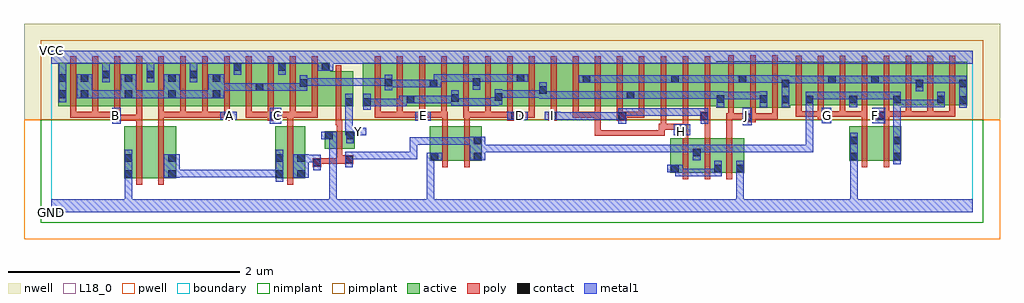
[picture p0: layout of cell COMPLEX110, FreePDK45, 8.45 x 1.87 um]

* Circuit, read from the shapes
.subckt COMPLEX110 A B C D E F G GND H I J VCC Y
M1 n1 B GND VSUBS nfet w=0.45u l=0.05u
M2 n2 A n1 VSUBS nfet w=0.45u l=0.05u
M3 n3 C n2 VSUBS nfet w=0.45u l=0.05u
M4 Y n3 GND VSUBS nfet w=0.15u l=0.05u
M5 n4 E GND VSUBS nfet w=0.3u l=0.05u
M6 n3 D n4 VSUBS nfet w=0.3u l=0.05u
M7 n3 H n5 VSUBS nfet w=0.3u l=0.05u
M8 n5 I n3 VSUBS nfet w=0.3u l=0.05u
M9 GND J n5 VSUBS nfet w=0.3u l=0.05u
M10 n6 G GND VSUBS nfet w=0.3u l=0.05u
M11 n3 F n6 VSUBS nfet w=0.3u l=0.05u
M12 n7 B VCC n8 pfet w=0.375u l=0.05u m=4
M13 n7 A VCC n8 pfet w=0.375u l=0.05u m=4
M14 n7 C VCC n8 pfet w=0.375u l=0.05u m=4
M15 Y n3 VCC n8 pfet w=0.3u l=0.05u
M16 n7 E n9 n8 pfet w=0.375u l=0.05u m=4
M17 n7 D n9 n8 pfet w=0.375u l=0.05u m=4
M18 n10 I n9 n8 pfet w=0.375u l=0.05u
M19 n11 H n10 n8 pfet w=0.375u l=0.05u
M20 n12 H n11 n8 pfet w=0.375u l=0.05u
M21 n9 I n12 n8 pfet w=0.375u l=0.05u
M22 n13 I n9 n8 pfet w=0.375u l=0.05u
M23 n11 H n13 n8 pfet w=0.375u l=0.05u
M24 n14 H n11 n8 pfet w=0.375u l=0.05u
M25 n9 I n14 n8 pfet w=0.375u l=0.05u
M26 n11 J n9 n8 pfet w=0.4u l=0.05u m=3
M27 n3 G n11 n8 pfet w=0.375u l=0.05u m=4
M28 n3 F n11 n8 pfet w=0.375u l=0.05u m=4
.ends

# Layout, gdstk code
import gdstk
lib = gdstk.Library(unit=1e-6, precision=1e-09)
def R(c, l, rs):  # rectangles x0, y0, x1, y1
    for r in rs: c.add(gdstk.rectangle(r[:2], r[2:], *l))
def A(c, l, x, y, w, h, nx, ny, dx, dy):  # array of equal rectangles
    R(c, l, [(x+i*dx, y+j*dy, x+i*dx+w, y+j*dy+h) for i in range(nx) for j in range(ny)])
active = (1, 0)
pwell = (2, 0)
nwell = (3, 0)
nimplant = (4, 0)
pimplant = (5, 0)
poly = (9, 0)
contact = (10, 0)
metal1 = (11, 0)
L18_0 = (18, 0)
boundary = (235, 0)

complex110 = lib.new_cell('COMPLEX110')
A(complex110, active, 0.252, 0.92, 0.26, 0.375, 4, 1, 0.57, 0)
A(complex110, active, 1.007, 0.92, 0.265, 0.375, 3, 1, 0.57, 0)
A(complex110, active, 3.457, 0.92, 0.265, 0.375, 3, 1, 0.19, 0)
A(complex110, active, 6.527, 0.932, 0.075, 0.138, 4, 1, 0.38, 0)
R(complex110, active, [(0.632,0.295,0.707,0.745), (0.632,0.295,0.857,0.745), (0.857,0.295,1.082,0.745), (1.007,0.295,1.082,0.745), (1.94,0.295,2.015,0.745), (1.94,0.295,2.2,0.745), (2.125,0.295,2.2,0.745), (5.362,0.342,5.627,0.642), (5.362,0.342,5.437,0.477), (5.552,0.342,5.812,0.642), (5.737,0.342,6.002,0.642), (5.737,0.342,5.812,0.547), (5.927,0.342,6.002,0.597), (3.28,0.445,3.505,0.745), (3.28,0.445,3.355,0.617), (3.505,0.445,3.73,0.745), (3.655,0.445,3.73,0.745), (5.552,0.445,5.627,0.555), (6.912,0.445,6.987,0.745), (6.912,0.445,7.137,0.745), (7.137,0.445,7.362,0.745), (7.287,0.445,7.362,0.745), (2.367,0.552,2.627,0.702), (2.367,0.595,2.442,0.702), (2.552,0.595,2.627,0.702), (5.757,0.907,6.022,1.307), (5.947,0.907,6.207,1.307), (5.947,0.907,6.022,1.2), (6.132,0.907,6.397,1.307), (6.132,0.907,6.207,1.07), (0.062,0.92,0.327,1.295), (0.062,0.92,0.137,1.23), (0.437,0.92,0.707,1.295), (0.632,0.92,0.897,1.295), (1.197,0.92,1.467,1.295), (1.767,0.92,2.037,1.295), (2.337,0.92,2.617,1.22), (2.542,0.92,2.617,1.07), (2.697,0.92,2.957,1.295), (2.697,0.92,2.772,1.07), (2.882,0.92,3.147,1.295), (3.072,0.92,3.147,1.07), (3.072,0.92,3.347,1.295), (3.272,0.92,3.532,1.295), (3.457,0.92,3.532,1.07), (3.837,0.92,3.912,1.07), (4.027,0.92,4.295,1.295), (4.22,0.92,4.447,1.295), (4.22,0.92,4.295,1.2), (4.447,0.92,4.672,1.295), (4.597,0.92,4.827,1.295), (4.827,0.92,5.052,1.295), (4.977,0.92,5.207,1.295), (5.207,0.92,5.437,1.295), (5.362,0.92,5.587,1.295), (5.587,0.92,5.832,1.295), (5.757,0.92,5.832,1.07), (6.322,0.927,6.602,1.302), (6.527,0.927,6.797,1.302), (6.722,0.927,6.982,1.302), (6.907,0.927,7.172,1.302), (7.097,0.927,7.362,1.302), (7.287,0.927,7.557,1.302), (7.482,0.927,7.742,1.302), (7.667,0.927,7.932,1.302), (7.857,0.927,7.932,1.2), (0.252,0.932,0.327,1.2), (0.437,0.932,0.512,1.295), (0.632,0.932,0.707,1.2), (0.822,0.932,0.897,1.232), (1.007,0.932,1.082,1.2), (1.197,0.932,1.272,1.232), (1.392,0.932,1.467,1.2), (1.577,0.932,1.652,1.295), (1.767,0.932,1.842,1.2), (1.962,0.932,2.037,1.295), (2.147,0.932,2.222,1.2), (2.882,0.932,2.957,1.2), (3.272,0.932,3.347,1.2), (3.647,0.932,3.722,1.2), (4.027,0.932,4.102,1.2), (4.597,0.932,4.672,1.2), (4.977,0.932,5.052,1.07), (5.362,0.932,5.437,1.2), (6.322,0.932,6.397,1.2), (6.722,0.932,6.797,1.2), (7.097,0.932,7.172,1.2), (7.482,0.932,7.557,1.2), (2.337,0.995,2.412,1.295)])
R(complex110, pwell, [(-0.235,-0.235,8.215,0.8)])
R(complex110, nwell, [(-0.235,0.8,8.215,1.635)])
R(complex110, nimplant, [(-0.09,-0.09,8.07,0.8)])
R(complex110, pimplant, [(-0.09,0.8,8.07,1.49)])
A(complex110, poly, 5.467, 0.287, 0.05, 0.41, 3, 1, 0.19, 0)
A(complex110, poly, 5.862, 0.807, 0.05, 0.095, 3, 1, 0.19, 0)
A(complex110, poly, 0.167, 0.82, 0.05, 0.095, 3, 1, 0.19, 0)
A(complex110, poly, 0.927, 0.82, 0.05, 0.095, 8, 1, 0.19, 0)
A(complex110, poly, 3.187, 0.82, 0.05, 0.095, 11, 1, 0.19, 0)
A(complex110, poly, 6.447, 0.827, 0.05, 0.095, 8, 1, 0.19, 0)
A(complex110, poly, 6.447, 0.827, 0.24, 0.05, 3, 1, 0.38, 0)
A(complex110, poly, 7.207, 0.827, 0.05, 0.05, 3, 1, 0.19, 0)
A(complex110, poly, 5.862, 0.852, 0.05, 0.51, 3, 1, 0.19, 0)
A(complex110, poly, 0.167, 0.865, 0.05, 0.485, 12, 1, 0.19, 0)
A(complex110, poly, 3.187, 0.865, 0.05, 0.485, 14, 1, 0.19, 0)
A(complex110, poly, 6.447, 0.872, 0.05, 0.485, 8, 1, 0.19, 0)
R(complex110, poly, [(0.737,0.24,0.787,0.8), (0.927,0.24,0.977,0.8), (2.045,0.24,2.095,0.8), (3.385,0.39,3.435,0.8), (3.575,0.39,3.625,0.8), (7.017,0.39,7.067,0.8), (7.207,0.39,7.257,0.8), (2.265,0.395,2.34,0.47), (2.29,0.42,2.522,0.47), (2.472,0.42,2.522,0.47), (2.472,0.42,2.522,0.47), (2.472,0.42,2.615,0.495), (2.472,0.445,2.522,0.547), (2.472,0.497,2.522,0.757), (5.467,0.647,5.517,0.742), (5.657,0.647,5.707,0.845), (5.847,0.647,5.897,0.857), (4.707,0.662,4.757,0.712), (4.707,0.662,5.005,0.712), (4.707,0.662,4.757,0.87), (4.955,0.662,5.005,0.712), (4.955,0.662,5.005,0.712), (4.955,0.662,5.005,0.712), (4.955,0.662,5.137,0.712), (5.087,0.662,5.137,0.712), (5.087,0.662,5.312,0.712), (5.262,0.662,5.312,0.712), (5.262,0.662,5.312,0.712), (5.262,0.662,5.312,0.712), (5.262,0.662,5.312,0.767), (5.43,0.692,5.517,0.767), (2.472,0.707,2.522,0.802), (5.262,0.717,5.327,0.767), (5.277,0.717,5.517,0.767), (5.277,0.717,5.327,0.915), (5.467,0.717,5.517,0.767), (5.467,0.717,5.517,0.767), (5.467,0.717,5.517,0.767), (5.467,0.717,5.517,0.767), (5.467,0.717,5.517,0.915), (0.737,0.75,0.787,0.845), (0.927,0.75,0.977,0.87), (2.045,0.75,2.095,0.87), (3.385,0.75,3.435,0.87), (3.575,0.75,3.625,0.87), (7.017,0.75,7.067,0.877), (7.207,0.75,7.257,0.852), (2.462,0.752,2.512,0.802), (2.462,0.752,2.512,0.802), (2.462,0.752,2.512,0.915), (2.462,0.752,2.522,0.802), (5.995,0.782,6.102,0.857), (0.522,0.795,0.597,0.87), (0.547,0.795,0.597,0.845), (0.547,0.795,0.597,0.845), (0.547,0.795,0.787,0.845), (0.737,0.795,0.787,0.845), (0.737,0.795,0.787,0.845), (0.737,0.795,0.787,0.845), (0.737,0.795,0.787,0.915), (1.495,0.795,1.57,0.87), (1.877,0.795,1.962,0.87), (3.182,0.795,3.257,0.87), (3.947,0.795,4.055,0.87), (4.302,0.795,4.377,0.87), (4.897,0.795,4.982,0.87), (5.62,0.795,5.707,0.87), (5.657,0.795,5.707,0.845), (5.657,0.795,5.707,0.845), (6.637,0.802,6.742,0.877), (7.15,0.802,7.257,0.877), (5.847,0.807,5.912,0.857), (5.862,0.807,5.912,0.857), (5.862,0.807,5.912,0.857), (5.862,0.807,5.912,0.857), (5.862,0.807,5.912,0.857), (5.862,0.807,6.045,0.857), (6.052,0.807,6.102,0.857), (6.052,0.807,6.102,0.857), (6.052,0.807,6.292,0.857), (6.242,0.807,6.292,0.857), (0.167,0.82,0.217,0.87), (0.167,0.82,0.217,0.87), (0.167,0.82,0.217,0.87), (0.167,0.82,0.407,0.87), (0.357,0.82,0.407,0.87), (0.357,0.82,0.407,0.87), (0.357,0.82,0.407,0.87), (0.357,0.82,0.572,0.87), (0.927,0.82,0.977,0.87), (0.927,0.82,0.977,0.87), (0.927,0.82,0.977,0.87), (0.927,0.82,0.977,0.87), (0.927,0.82,0.977,0.87), (0.927,0.82,1.167,0.87), (1.117,0.82,1.167,0.87), (1.117,0.82,1.167,0.87), (1.117,0.82,1.167,0.87), (1.117,0.82,1.357,0.87), (1.307,0.82,1.357,0.87), (1.307,0.82,1.357,0.87), (1.307,0.82,1.357,0.87), (1.307,0.82,1.545,0.87), (1.687,0.82,1.737,0.87), (1.687,0.82,1.927,0.87), (1.877,0.82,1.927,0.87), (1.877,0.82,1.927,0.87), (1.912,0.82,2.095,0.87), (2.045,0.82,2.095,0.87), (2.045,0.82,2.095,0.87), (2.045,0.82,2.095,0.87), (2.045,0.82,2.095,0.87), (2.045,0.82,2.117,0.87), (2.067,0.82,2.307,0.87), (2.257,0.82,2.307,0.87), (2.257,0.82,2.307,0.87), (2.257,0.82,2.307,0.87), (2.802,0.82,2.852,0.915), (2.802,0.82,2.852,0.87), (2.802,0.82,2.852,0.87), (2.802,0.82,2.852,0.87), (2.802,0.82,3.042,0.87), (2.992,0.82,3.042,0.915), (2.992,0.82,3.042,0.87), (2.992,0.82,3.042,0.87), (2.992,0.82,3.042,0.87), (2.992,0.82,3.232,0.87), (3.207,0.82,3.257,0.87), (3.207,0.82,3.257,0.87), (3.207,0.82,3.427,0.87), (3.377,0.82,3.427,0.87), (3.377,0.82,3.427,0.87), (3.377,0.82,3.435,0.87), (3.567,0.82,3.625,0.87), (3.575,0.82,3.625,0.87), (3.575,0.82,3.625,0.87), (3.575,0.82,3.625,0.87), (3.575,0.82,3.625,0.87), (3.575,0.82,3.807,0.87), (3.757,0.82,3.807,0.87), (3.757,0.82,3.807,0.87), (3.757,0.82,3.807,0.87), (3.757,0.82,3.997,0.87), (4.005,0.82,4.187,0.87), (4.137,0.82,4.187,0.87), (4.137,0.82,4.187,0.87), (4.137,0.82,4.187,0.87), (4.517,0.82,4.567,0.87), (4.517,0.82,4.567,0.87), (4.517,0.82,4.567,0.87), (4.517,0.82,4.757,0.87), (4.707,0.82,4.757,0.87), (4.707,0.82,4.757,0.87), (4.707,0.82,4.757,0.87), (4.932,0.82,4.982,0.87), (4.932,0.82,4.982,0.87), (4.932,0.82,5.137,0.87), (5.087,0.82,5.137,0.87), (5.657,0.82,5.707,0.915), (6.447,0.827,6.497,0.877), (6.447,0.827,6.497,0.877), (6.447,0.827,6.497,0.877), (6.692,0.827,6.742,0.877), (6.692,0.827,6.742,0.877), (6.692,0.827,6.877,0.877), (6.827,0.827,6.877,0.877), (7.017,0.827,7.067,0.877), (7.017,0.827,7.067,0.877), (7.017,0.827,7.067,0.877), (7.017,0.827,7.067,0.877), (7.017,0.827,7.067,0.877), (7.207,0.827,7.257,0.877), (7.207,0.827,7.257,0.877), (7.207,0.827,7.257,0.877), (7.397,0.827,7.637,0.877), (7.587,0.827,7.637,0.877), (7.587,0.827,7.637,0.877), (7.587,0.827,7.827,0.877), (7.777,0.827,7.827,0.877), (7.777,0.827,7.827,0.877), (7.777,0.827,7.827,0.877), (2.462,0.865,2.512,1.275), (2.802,0.865,2.852,1.35), (2.992,0.865,3.042,1.35)])
A(complex110, contact, 6.532, 0.945, 0.065, 0.065, 4, 1, 0.38, 0)
R(complex110, contact, [(0.637,0.3,0.702,0.365), (1.012,0.3,1.077,0.365), (1.945,0.3,2.01,0.365), (2.13,0.3,2.195,0.365), (5.367,0.347,5.432,0.412), (5.742,0.347,5.807,0.412), (5.932,0.347,5.997,0.412), (2.27,0.4,2.335,0.465), (2.545,0.425,2.61,0.49), (0.637,0.44,0.702,0.505), (1.012,0.44,1.077,0.505), (1.945,0.44,2.01,0.505), (2.13,0.44,2.195,0.505), (3.285,0.45,3.35,0.515), (3.66,0.45,3.725,0.515), (6.917,0.45,6.982,0.515), (7.292,0.45,7.357,0.515), (5.557,0.485,5.622,0.55), (3.66,0.59,3.725,0.655), (6.917,0.59,6.982,0.655), (7.292,0.59,7.357,0.655), (2.372,0.632,2.437,0.697), (2.557,0.632,2.622,0.697), (5.435,0.697,5.5,0.762), (6,0.787,6.065,0.852), (0.527,0.8,0.592,0.865), (1.5,0.8,1.565,0.865), (1.892,0.8,1.957,0.865), (3.187,0.8,3.252,0.865), (3.985,0.8,4.05,0.865), (4.307,0.8,4.372,0.865), (4.912,0.8,4.977,0.865), (5.625,0.8,5.69,0.865), (6.672,0.807,6.737,0.872), (7.155,0.807,7.22,0.872), (2.547,0.925,2.612,0.99), (2.702,0.925,2.767,0.99), (7.862,0.942,7.927,1.007), (3.077,0.945,3.142,1.01), (6.327,0.945,6.392,1.01), (5.762,0.947,5.827,1.012), (6.137,0.947,6.202,1.012), (3.462,0.957,3.527,1.022), (3.842,0.965,3.907,1.03), (4.982,0.982,5.047,1.047), (0.067,0.99,0.132,1.055), (0.257,0.99,0.322,1.055), (0.637,0.99,0.702,1.055), (1.012,0.99,1.077,1.055), (1.397,0.99,1.462,1.055), (4.225,1.027,4.29,1.092), (1.772,1.052,1.837,1.117), (3.277,1.082,3.342,1.147), (7.487,1.082,7.552,1.147), (7.862,1.082,7.927,1.147), (6.327,1.085,6.392,1.15), (2.152,1.087,2.217,1.152), (2.887,1.09,2.952,1.155), (3.652,1.095,3.717,1.16), (6.727,1.117,6.792,1.182), (7.102,1.117,7.167,1.182), (4.602,1.12,4.667,1.185), (5.367,1.12,5.432,1.185), (5.952,1.12,6.017,1.185), (0.067,1.13,0.132,1.195), (0.257,1.13,0.322,1.195), (0.637,1.13,0.702,1.195), (1.012,1.13,1.077,1.195), (1.397,1.13,1.462,1.195), (4.032,1.13,4.097,1.195), (0.442,1.162,0.507,1.227), (0.827,1.162,0.892,1.227), (1.202,1.162,1.267,1.227), (1.582,1.225,1.647,1.29), (1.967,1.225,2.032,1.29), (2.342,1.225,2.407,1.29)])
A(complex110, metal1, 6.532, 0.91, 0.065, 0.135, 4, 1, 0.38, 0)
R(complex110, metal1, [(0,0,7.98,0.115), (0.637,0.05,0.702,0.115), (0.637,0.05,0.702,0.115), (0.637,0.05,0.702,0.33), (2.407,0.05,2.472,0.115), (2.407,0.05,2.472,0.115), (2.407,0.05,2.472,0.697), (3.252,0.05,3.317,0.515), (5.932,0.05,5.997,0.115), (5.932,0.05,5.997,0.115), (5.932,0.05,5.997,0.115), (5.932,0.05,5.997,0.115), (5.932,0.05,5.997,0.377), (6.917,0.05,6.982,0.115), (6.917,0.05,6.982,0.115), (6.917,0.05,6.982,0.115), (6.917,0.05,6.982,0.115), (6.917,0.05,6.982,0.48), (0.637,0.265,0.702,0.54), (1.945,0.265,2.01,0.54), (0.977,0.3,1.112,0.505), (2.095,0.3,2.23,0.505), (1.047,0.302,1.112,0.367), (1.047,0.302,1.112,0.367), (1.047,0.302,1.29,0.367), (1.225,0.302,1.29,0.367), (1.225,0.302,1.29,0.367), (1.225,0.302,1.29,0.367), (1.225,0.302,1.51,0.367), (1.445,0.302,1.51,0.367), (1.445,0.302,1.51,0.367), (1.445,0.302,1.51,0.367), (1.445,0.302,1.647,0.367), (1.582,0.302,1.647,0.367), (1.582,0.302,1.647,0.367), (1.582,0.302,1.647,0.367), (1.582,0.302,1.872,0.367), (1.807,0.302,1.872,0.367), (1.807,0.302,1.872,0.367), (1.807,0.302,1.872,0.367), (1.807,0.302,2.01,0.367), (5.402,0.312,5.622,0.377), (5.402,0.312,5.467,0.412), (5.557,0.312,5.622,0.377), (5.557,0.312,5.622,0.377), (5.557,0.312,5.622,0.377), (5.557,0.312,5.807,0.377), (5.742,0.312,5.807,0.447), (5.932,0.312,5.997,0.447), (5.332,0.347,5.467,0.412), (5.402,0.347,5.467,0.412), (2.27,0.365,2.335,0.5), (2.545,0.39,2.61,0.525), (6.917,0.415,6.982,0.69), (7.292,0.415,7.357,0.69), (2.165,0.435,2.335,0.5), (3.25,0.45,3.385,0.515), (3.252,0.45,3.317,0.515), (3.252,0.45,3.317,0.515), (3.252,0.45,3.317,0.515), (3.252,0.45,3.317,0.515), (3.625,0.45,3.76,0.655), (5.557,0.45,5.622,0.585), (2.545,0.46,2.61,0.525), (2.545,0.46,2.61,0.525), (2.545,0.46,2.815,0.525), (2.75,0.46,2.815,0.525), (2.75,0.46,2.815,0.525), (2.75,0.46,2.815,0.525), (2.75,0.46,2.97,0.525), (2.905,0.46,2.97,0.525), (2.905,0.46,2.97,0.525), (2.905,0.46,2.97,0.525), (2.905,0.46,3.17,0.525), (3.105,0.46,3.17,0.525), (3.105,0.46,3.17,0.652), (3.695,0.52,3.76,0.585), (3.695,0.52,3.76,0.585), (3.695,0.52,3.925,0.585), (3.86,0.52,3.925,0.585), (3.86,0.52,4.015,0.585), (3.95,0.52,4.015,0.585), (3.95,0.52,4.152,0.585), (4.087,0.52,4.152,0.585), (4.087,0.52,4.152,0.585), (4.087,0.52,4.152,0.585), (4.087,0.52,4.29,0.585), (4.225,0.52,4.29,0.585), (4.225,0.52,4.29,0.585), (4.225,0.52,4.29,0.585), (4.225,0.52,4.427,0.585), (4.362,0.52,4.427,0.585), (4.362,0.52,4.565,0.585), (4.5,0.52,4.565,0.585), (4.5,0.52,4.565,0.585), (4.5,0.52,4.565,0.585), (4.5,0.52,4.84,0.585), (4.775,0.52,4.84,0.585), (4.775,0.52,4.84,0.585), (4.775,0.52,4.84,0.585), (4.775,0.52,4.985,0.585), (4.92,0.52,4.985,0.585), (4.92,0.52,4.985,0.585), (4.92,0.52,4.985,0.585), (4.92,0.52,5.122,0.585), (5.057,0.52,5.122,0.585), (5.057,0.52,5.26,0.585), (5.195,0.52,5.26,0.585), (5.195,0.52,5.26,0.585), (5.195,0.52,5.26,0.585), (5.195,0.52,5.397,0.585), (5.332,0.52,5.397,0.585), (5.332,0.52,5.397,0.585), (5.332,0.52,5.397,0.585), (5.332,0.52,5.622,0.585), (5.557,0.52,5.622,0.585), (5.557,0.52,5.622,0.585), (5.557,0.52,5.76,0.585), (5.695,0.52,5.76,0.585), (5.695,0.52,5.76,0.585), (5.695,0.52,5.76,0.585), (5.695,0.52,5.965,0.585), (5.9,0.52,5.965,0.585), (5.9,0.52,5.965,0.585), (5.9,0.52,5.965,0.585), (5.9,0.52,6.202,0.585), (6.137,0.52,6.202,0.585), (6.137,0.52,6.34,0.585), (6.275,0.52,6.34,0.585), (6.275,0.52,6.34,0.585), (6.275,0.52,6.34,0.585), (6.275,0.52,6.34,0.585), (6.275,0.52,6.34,0.585), (6.275,0.52,6.552,0.585), (6.487,0.52,6.552,0.585), (6.487,0.52,6.597,0.585), (6.532,0.52,6.597,0.585), (6.532,0.52,6.597,0.975), (3.105,0.587,3.17,0.652), (3.105,0.587,3.217,0.652), (3.152,0.587,3.217,0.652), (3.152,0.587,3.39,0.652), (3.325,0.587,3.39,0.652), (3.325,0.587,3.39,0.652), (3.325,0.587,3.39,0.652), (3.325,0.587,3.552,0.652), (3.487,0.587,3.552,0.652), (3.487,0.587,3.552,0.652), (3.487,0.587,3.552,0.652), (3.487,0.587,3.69,0.652), (2.557,0.597,2.622,0.732), (7.292,0.625,7.357,0.975), (2.337,0.632,2.472,0.697), (2.407,0.632,2.472,0.697), (2.407,0.632,2.472,0.697), (2.407,0.632,2.472,0.697), (2.407,0.632,2.472,0.697), (2.547,0.667,2.612,0.955), (2.547,0.667,2.727,0.732), (2.557,0.667,2.622,0.732), (2.557,0.667,2.622,0.732), (2.557,0.667,2.622,0.732), (5.392,0.667,5.535,0.762), (5.987,0.752,6.065,0.907), (0.527,0.765,0.602,0.907), (1.892,0.765,1.992,0.907), (4.912,0.765,4.977,0.9), (5.625,0.765,5.69,0.9), (6.672,0.772,6.752,0.907), (7.107,0.772,7.22,0.907), (3.152,0.795,3.287,0.872), (1.465,0.8,1.607,0.872), (3.95,0.8,4.127,0.872), (4.272,0.8,4.407,0.872), (4.342,0.8,4.427,0.865), (4.362,0.8,4.427,0.865), (4.362,0.8,4.565,0.865), (4.5,0.8,4.565,0.865), (4.5,0.8,4.565,0.865), (4.5,0.8,4.565,0.865), (4.5,0.8,4.84,0.865), (4.775,0.8,4.84,0.865), (4.775,0.8,4.84,0.865), (4.775,0.8,4.84,0.865), (4.775,0.8,4.977,0.865), (4.912,0.835,4.977,0.9), (4.912,0.835,4.977,0.9), (4.912,0.835,5.122,0.9), (5.057,0.835,5.122,0.9), (5.057,0.835,5.26,0.9), (5.195,0.835,5.26,0.9), (5.195,0.835,5.26,0.9), (5.195,0.835,5.26,0.9), (5.195,0.835,5.397,0.9), (5.332,0.835,5.397,0.9), (5.332,0.835,5.397,0.9), (5.332,0.835,5.397,0.9), (5.332,0.835,5.605,0.9), (5.54,0.835,5.605,0.9), (5.54,0.835,5.69,0.9), (2.547,0.89,2.612,1.025), (2.702,0.89,2.767,1.025), (7.862,0.907,7.927,1.182), (6.327,0.91,6.392,1.185), (6.532,0.91,6.597,0.975), (6.532,0.91,6.597,0.975), (6.532,0.91,6.597,0.975), (6.532,0.91,6.597,0.975), (7.292,0.91,7.357,0.975), (7.292,0.91,7.357,0.975), (7.292,0.91,7.357,0.975), (7.292,0.91,7.357,0.975), (7.292,0.91,7.6,0.975), (7.535,0.91,7.6,0.975), (7.535,0.91,7.6,0.975), (7.535,0.91,7.6,0.975), (7.535,0.91,7.737,0.975), (7.672,0.91,7.737,0.975), (7.672,0.91,7.737,0.975), (5.762,0.912,5.827,1.047), (6.137,0.912,6.202,1.047), (2.702,0.917,2.767,0.982), (2.702,0.917,2.767,0.982), (2.702,0.917,2.952,0.982), (2.887,0.917,2.952,0.982), (2.887,0.917,3.08,0.982), (3.015,0.917,3.08,1.01), (3.462,0.922,3.527,0.987), (3.462,0.922,3.527,0.987), (3.462,0.922,3.527,1.057), (3.462,0.922,3.77,0.987), (3.705,0.922,3.77,0.987), (3.705,0.922,3.877,0.987), (3.812,0.922,3.877,0.995), (3.812,0.93,3.907,0.995), (3.842,0.93,3.907,1.065), (3.015,0.945,3.107,1.01), (3.042,0.945,3.177,1.01), (3.112,0.945,3.217,1.01), (3.152,0.945,3.217,1.01), (3.152,0.945,3.39,1.01), (3.325,0.945,3.39,1.01), (3.325,0.945,3.39,1.01), (3.325,0.945,3.39,1.01), (3.325,0.945,3.527,1.01), (0.067,0.955,0.132,1.23), (5.762,0.98,5.827,1.045), (5.762,0.98,5.827,1.045), (5.762,0.98,6.065,1.045), (6,0.98,6.065,1.045), (6,0.98,6.065,1.045), (6,0.98,6.065,1.045), (6,0.98,6.202,1.045), (6.532,0.98,6.69,1.045), (6.625,0.98,6.69,1.045), (6.625,0.98,6.827,1.045), (6.762,0.98,6.827,1.045), (6.762,0.98,6.827,1.045), (6.762,0.98,6.827,1.045), (6.762,0.98,6.977,1.045), (6.912,0.98,6.977,1.045), (6.912,0.98,6.977,1.045), (6.912,0.98,7.115,1.045), (7.05,0.98,7.115,1.045), (7.05,0.98,7.115,1.045), (7.05,0.98,7.115,1.045), (7.05,0.98,7.357,1.045), (4.225,0.982,4.427,1.047), (4.225,0.982,4.29,1.057), (4.362,0.982,4.427,1.047), (4.362,0.982,4.565,1.047), (4.5,0.982,4.565,1.047), (4.5,0.982,4.565,1.047), (4.5,0.982,4.565,1.047), (4.5,0.982,4.84,1.047), (4.775,0.982,4.84,1.047), (4.775,0.982,4.84,1.047), (4.775,0.982,4.84,1.047), (4.775,0.982,4.977,1.047), (4.912,0.982,4.977,1.047), (4.912,0.982,5.012,1.047), (4.947,0.982,5.082,1.047), (5.017,0.982,5.122,1.047), (5.057,0.982,5.122,1.047), (5.057,0.982,5.26,1.047), (5.195,0.982,5.26,1.047), (5.195,0.982,5.26,1.047), (5.195,0.982,5.26,1.047), (5.195,0.982,5.397,1.047), (5.332,0.982,5.397,1.047), (5.332,0.982,5.397,1.047), (5.332,0.982,5.397,1.047), (5.332,0.982,5.622,1.047), (5.557,0.982,5.622,1.047), (5.557,0.982,5.622,1.047), (5.557,0.982,5.622,1.047), (5.557,0.982,5.827,1.047), (0.222,0.99,0.357,1.195), (0.292,0.99,0.357,1.055), (0.292,0.99,0.357,1.055), (0.292,0.99,0.53,1.055), (0.465,0.99,0.53,1.055), (0.465,0.99,0.53,1.055), (0.465,0.99,0.53,1.055), (0.465,0.99,0.667,1.055), (0.602,0.99,0.737,1.195), (0.672,0.99,0.737,1.055), (0.672,0.99,0.737,1.055), (0.672,0.99,0.905,1.055), (0.84,0.99,0.905,1.055), (0.84,0.99,0.905,1.055), (0.84,0.99,0.905,1.055), (0.84,0.99,1.042,1.055), (0.977,0.99,1.112,1.195), (1.047,0.99,1.112,1.055), (1.047,0.99,1.112,1.055), (1.047,0.99,1.29,1.055), (1.225,0.99,1.29,1.055), (1.225,0.99,1.29,1.055), (1.225,0.99,1.29,1.055), (1.225,0.99,1.427,1.055), (1.362,0.99,1.497,1.195), (3.842,0.992,4.015,1.057), (3.95,0.992,4.015,1.057), (3.95,0.992,4.152,1.057), (4.087,0.992,4.152,1.057), (4.087,0.992,4.152,1.057), (4.087,0.992,4.152,1.057), (4.087,0.992,4.29,1.057), (4.225,0.992,4.29,1.057), (4.225,0.992,4.29,1.127), (7.487,1.047,7.552,1.182), (1.432,1.052,1.497,1.117), (1.432,1.052,1.497,1.117), (1.432,1.052,1.647,1.117), (1.582,1.052,1.647,1.117), (1.582,1.052,1.647,1.117), (1.582,1.052,1.647,1.117), (1.582,1.052,1.802,1.117), (1.737,1.052,1.872,1.117), (1.807,1.052,1.872,1.117), (1.807,1.052,1.872,1.117), (1.807,1.052,2.01,1.117), (1.945,1.052,2.01,1.117), (1.945,1.052,2.01,1.117), (1.945,1.052,2.01,1.117), (1.945,1.052,2.217,1.117), (2.152,1.052,2.217,1.187), (2.887,1.055,2.952,1.19), (3.652,1.06,3.717,1.195), (2.887,1.082,2.952,1.147), (2.887,1.082,2.952,1.147), (2.887,1.082,3.17,1.147), (3.105,1.082,3.17,1.147), (3.105,1.082,3.24,1.147), (3.175,1.082,3.24,1.147), (3.175,1.082,3.307,1.147), (3.242,1.082,3.377,1.147), (3.312,1.082,3.377,1.147), (3.312,1.082,3.377,1.195), (2.152,1.095,2.217,1.16), (2.152,1.095,2.217,1.16), (2.152,1.095,2.472,1.16), (2.407,1.095,2.472,1.16), (2.407,1.095,2.61,1.16), (2.545,1.095,2.61,1.162), (2.545,1.097,2.61,1.162), (2.545,1.097,2.61,1.162), (2.545,1.097,2.75,1.162), (2.685,1.097,2.75,1.162), (2.685,1.097,2.75,1.162), (2.685,1.097,2.75,1.162), (2.685,1.097,2.952,1.162), (6.327,1.117,6.552,1.182), (6.487,1.117,6.552,1.182), (6.487,1.117,6.552,1.182), (6.487,1.117,6.552,1.182), (6.487,1.117,6.69,1.182), (6.625,1.117,6.69,1.182), (6.625,1.117,6.757,1.182), (6.692,1.117,6.827,1.182), (6.762,1.117,6.827,1.182), (6.762,1.117,6.827,1.182), (6.762,1.117,6.965,1.182), (6.9,1.117,6.965,1.182), (6.9,1.117,6.965,1.182), (6.9,1.117,6.965,1.182), (6.9,1.117,7.132,1.182), (7.067,1.117,7.202,1.182), (7.137,1.117,7.202,1.182), (7.137,1.117,7.202,1.182), (7.137,1.117,7.415,1.182), (7.35,1.117,7.415,1.182), (7.35,1.117,7.415,1.182), (7.35,1.117,7.415,1.182), (7.35,1.117,7.552,1.182), (7.487,1.117,7.79,1.182), (7.725,1.117,7.79,1.182), (7.725,1.117,7.79,1.182), (7.725,1.117,7.79,1.182), (7.725,1.117,7.927,1.182), (7.862,1.117,7.927,1.182), (7.862,1.117,7.927,1.182), (4.567,1.12,4.702,1.185), (4.637,1.12,4.702,1.185), (4.637,1.12,4.702,1.185), (4.637,1.12,4.84,1.185), (4.775,1.12,4.84,1.185), (4.775,1.12,4.977,1.185), (4.912,1.12,4.977,1.185), (4.912,1.12,5.122,1.185), (5.057,1.12,5.122,1.185), (5.057,1.12,5.122,1.185), (5.057,1.12,5.122,1.185), (5.057,1.12,5.26,1.185), (5.195,1.12,5.26,1.185), (5.195,1.12,5.26,1.185), (5.195,1.12,5.26,1.185), (5.195,1.12,5.397,1.185), (5.332,1.12,5.467,1.185), (5.402,1.12,5.467,1.185), (5.402,1.12,5.467,1.185), (5.402,1.12,5.605,1.185), (5.54,1.12,5.605,1.185), (5.54,1.12,5.605,1.185), (5.54,1.12,5.605,1.185), (5.54,1.12,5.827,1.185), (5.762,1.12,5.827,1.185), (5.762,1.12,5.827,1.185), (5.762,1.12,5.827,1.185), (5.762,1.12,5.982,1.185), (5.917,1.12,6.052,1.185), (5.987,1.12,6.052,1.185), (5.987,1.12,6.052,1.185), (5.987,1.12,6.202,1.185), (6.137,1.12,6.202,1.185), (6.137,1.12,6.202,1.185), (6.137,1.12,6.202,1.185), (6.137,1.12,6.392,1.185), (0.442,1.127,0.507,1.262), (0.827,1.127,0.892,1.262), (1.202,1.127,1.267,1.262), (3.312,1.13,3.552,1.195), (3.487,1.13,3.552,1.195), (3.487,1.13,3.552,1.195), (3.487,1.13,3.552,1.195), (3.487,1.13,3.717,1.195), (3.652,1.13,3.717,1.195), (3.652,1.13,3.717,1.195), (3.652,1.13,3.907,1.195), (3.842,1.13,3.907,1.195), (3.842,1.13,4.015,1.195), (3.95,1.13,4.015,1.195), (3.95,1.13,4.062,1.195), (3.997,1.13,4.132,1.195), (0.067,1.165,0.132,1.35), (1.582,1.19,1.647,1.325), (1.967,1.19,2.032,1.325), (0.442,1.197,0.507,1.35), (0.827,1.197,0.892,1.35), (1.202,1.197,1.267,1.35), (2.307,1.225,2.442,1.29), (2.377,1.225,2.442,1.35), (1.582,1.26,1.647,1.35), (1.967,1.26,2.032,1.35), (0,1.285,7.98,1.4)])
R(complex110, L18_0, [(0,0,7.98,0.115), (0.637,0.05,0.702,0.115), (0.637,0.05,0.702,0.115), (0.637,0.05,0.702,0.33), (2.407,0.05,2.472,0.115), (2.407,0.05,2.472,0.115), (2.407,0.05,2.472,0.697), (3.252,0.05,3.317,0.515), (5.932,0.05,5.997,0.115), (5.932,0.05,5.997,0.115), (5.932,0.05,5.997,0.115), (5.932,0.05,5.997,0.115), (5.932,0.05,5.997,0.377), (6.917,0.05,6.982,0.115), (6.917,0.05,6.982,0.115), (6.917,0.05,6.982,0.115), (6.917,0.05,6.982,0.115), (6.917,0.05,6.982,0.48), (0.637,0.265,0.702,0.54), (5.932,0.312,5.997,0.447), (6.917,0.415,6.982,0.69), (3.25,0.45,3.385,0.515), (3.252,0.45,3.317,0.515), (3.252,0.45,3.317,0.515), (3.252,0.45,3.317,0.515), (3.252,0.45,3.317,0.515), (2.557,0.597,2.622,0.732), (2.337,0.632,2.472,0.697), (2.407,0.632,2.472,0.697), (2.407,0.632,2.472,0.697), (2.407,0.632,2.472,0.697), (2.407,0.632,2.472,0.697), (2.547,0.667,2.727,0.732), (2.547,0.667,2.612,0.955), (2.557,0.667,2.622,0.732), (2.557,0.667,2.622,0.732), (2.557,0.667,2.622,0.732), (2.627,0.667,2.692,0.732), (5.392,0.667,5.535,0.762), (5.427,0.667,5.492,0.732), (5.987,0.752,6.065,0.907), (0.527,0.765,0.602,0.907), (1.892,0.765,1.992,0.907), (4.912,0.765,4.977,0.9), (5.625,0.765,5.69,0.9), (6.672,0.772,6.752,0.907), (7.107,0.772,7.22,0.907), (3.152,0.795,3.287,0.872), (1.465,0.8,1.607,0.872), (3.95,0.8,4.127,0.872), (4.272,0.8,4.407,0.872), (4.342,0.8,4.427,0.865), (4.362,0.8,4.427,0.865), (4.362,0.8,4.565,0.865), (4.5,0.8,4.565,0.865), (4.5,0.8,4.565,0.865), (4.5,0.8,4.565,0.865), (4.5,0.8,4.84,0.865), (4.775,0.8,4.84,0.865), (4.775,0.8,4.84,0.865), (4.775,0.8,4.84,0.865), (4.775,0.8,4.977,0.865), (0.527,0.807,0.592,0.872), (1.507,0.807,1.572,0.872), (1.927,0.807,1.992,0.872), (3.187,0.807,3.252,0.872), (4.027,0.807,4.092,0.872), (4.307,0.807,4.372,0.872), (5.987,0.807,6.052,0.872), (6.687,0.807,6.752,0.872), (7.107,0.807,7.172,0.872), (4.912,0.835,4.977,0.9), (4.912,0.835,4.977,0.9), (4.912,0.835,5.122,0.9), (5.057,0.835,5.122,0.9), (5.057,0.835,5.26,0.9), (5.195,0.835,5.26,0.9), (5.195,0.835,5.26,0.9), (5.195,0.835,5.26,0.9), (5.195,0.835,5.397,0.9), (5.332,0.835,5.397,0.9), (5.332,0.835,5.397,0.9), (5.332,0.835,5.397,0.9), (5.332,0.835,5.605,0.9), (5.54,0.835,5.605,0.9), (5.54,0.835,5.69,0.9), (2.547,0.89,2.612,1.025), (0.067,0.955,0.132,1.23), (0.442,1.127,0.507,1.262), (0.827,1.127,0.892,1.262), (1.202,1.127,1.267,1.262), (0.067,1.165,0.132,1.35), (1.582,1.19,1.647,1.325), (1.967,1.19,2.032,1.325), (0.442,1.197,0.507,1.35), (0.827,1.197,0.892,1.35), (1.202,1.197,1.267,1.35), (2.307,1.225,2.442,1.29), (2.377,1.225,2.442,1.35), (1.582,1.26,1.647,1.35), (1.967,1.26,2.032,1.35), (0,1.285,7.98,1.4)])
R(complex110, boundary, [(0,0,7.98,1.4)])
complex110.add(gdstk.Label('A', (1.54,0.84), layer=11, texttype=0))
complex110.add(gdstk.Label('B', (0.56,0.84), layer=11, texttype=0))
complex110.add(gdstk.Label('C', (1.96,0.84), layer=11, texttype=0))
complex110.add(gdstk.Label('D', (4.06,0.84), layer=11, texttype=0))
complex110.add(gdstk.Label('E', (3.22,0.84), layer=11, texttype=0))
complex110.add(gdstk.Label('F', (7.14,0.84), layer=11, texttype=0))
complex110.add(gdstk.Label('G', (6.72,0.84), layer=11, texttype=0))
complex110.add(gdstk.Label('H', (5.46,0.7), layer=11, texttype=0))
complex110.add(gdstk.Label('I', (4.34,0.84), layer=11, texttype=0))
complex110.add(gdstk.Label('J', (6.02,0.84), layer=11, texttype=0))
complex110.add(gdstk.Label('Y', (2.66,0.7), layer=11, texttype=0))
complex110.add(gdstk.Label('VCC', (0,1.4), layer=11, texttype=0))
complex110.add(gdstk.Label('GND', (0,0), layer=11, texttype=0))

lib.write_gds('COMPLEX110.gds')
